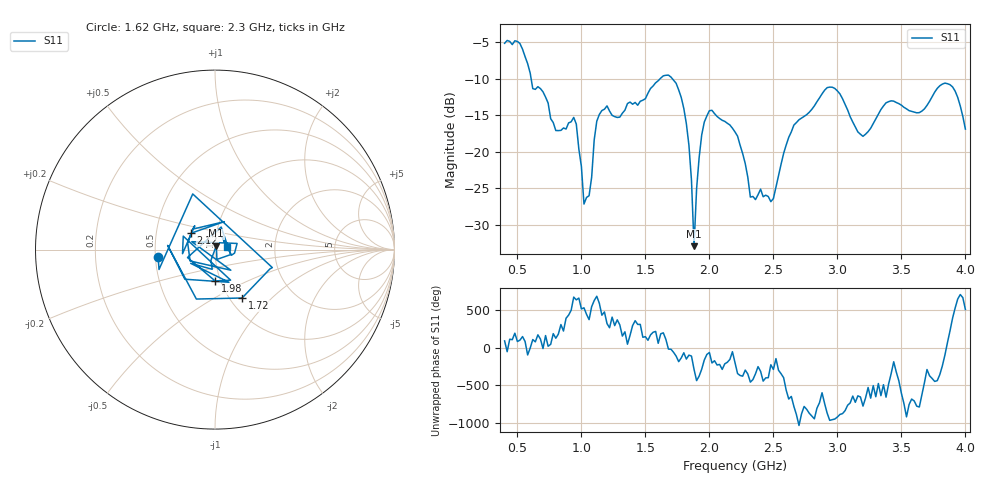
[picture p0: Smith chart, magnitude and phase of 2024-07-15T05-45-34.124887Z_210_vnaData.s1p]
!Created with skrf (http://scikit-rf.org).
# Hz S RI R 50.0
!freq ReS11 ImS11
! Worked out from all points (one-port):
!   181 points, 400 MHz to 4 GHz, reference 50 ohm
!   lowest |S11| = -33.0 dB at 1.88 GHz (marker M1), VSWR 1.05, Z = 50.7 + j2.16 ohm
!   |S11| at or under -10 dB: 607.2 MHz to 1.615 GHz (1.008 GHz wide, 90.7 % of centre); 1.711 GHz to end of sweep
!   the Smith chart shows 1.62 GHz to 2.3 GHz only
!   S11 on the Smith chart (normalised r, x): 1.62 GHz: 0.52, -0.05; 1.72 GHz: 1.14, -0.68; 1.98 GHz: 0.94, -0.34; 2.12 GHz: 0.75, +0.14; 2.3 GHz: 1.14, +0.03
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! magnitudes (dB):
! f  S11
! 400 MHz  -5.1
! 520 MHz  -5.2
! 620 MHz  -11.4
! 860 MHz  -16.8
! 960 MHz  -16.2
! 1.02 GHz  -27.2
! 1.06 GHz  -26.0
! 1.14 GHz  -14.9
! 1.3 GHz  -15.3
! 1.62 GHz  -9.9
! 1.72 GHz  -10.2
! 1.76 GHz  -11.5
! 1.84 GHz  -19.1
! 1.88 GHz  -33.0
! 1.92 GHz  -20.8
! 1.98 GHz  -15.1
! 2.12 GHz  -15.8
! 2.2 GHz  -17.3
! 2.3 GHz  -23.5
! 2.48 GHz  -26.8
! 2.66 GHz  -16.4
! 2.94 GHz  -11.1
! 3.1 GHz  -15.2
! 3.2 GHz  -17.9
! 3.38 GHz  -13.3
! 3.56 GHz  -14.4
! 3.86 GHz  -10.7
! 4 GHz  -16.9
